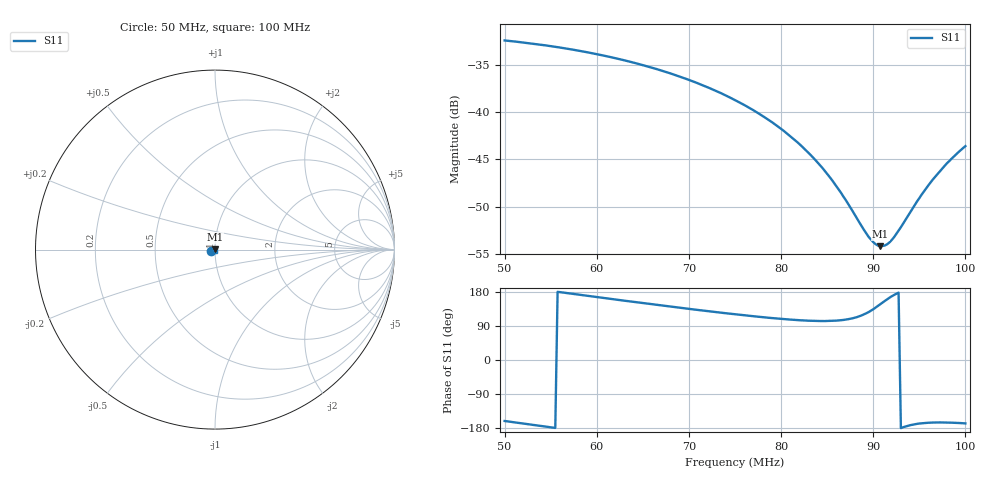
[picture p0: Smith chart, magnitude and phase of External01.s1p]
!Agilent Technologies,E5072A,MY51200456,A.01.06
!Date: Thu Sep 03 20:51:11 2015
!Data & Calibration Information:
!Freq	S11:SOLT1(ON)
!PortZ  Port1:50+j0
!Above PortZ is port z conversion or system Z0 setting when saving the data.
!When reading, reference impedance value at option line is always used.
# Hz S dB R 50
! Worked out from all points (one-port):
!   201 points, 50 MHz to 100 MHz, reference 50 ohm
!   lowest |S11| = -54.1 dB at 90.75 MHz (marker M1), VSWR 1.00, Z = 49.8 + j0.108 ohm
!   |S11| at or under -10 dB: start of sweep to end of sweep
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5e7  -32.45 -160.9
5.625e7  -33.23 178.3
5.975e7  -33.85 166.9
6.25e7  -34.43 158.1
6.55e7  -35.18 148.7
6.875e7  -36.17 138.7
7.2e7  -37.38 129.1
7.5e7  -38.74 120.7
7.825e7  -40.57 112.4
8.025e7  -41.95 108.1
8.125e7  -42.75 106.2
8.275e7  -44.07 103.9
8.45e7  -45.91 102.8
8.625e7  -48.15 104.5
8.75e7  -50.00 108.8
8.85e7  -51.64 115.4
8.95e7  -53.16 126.5
9.025e7  -53.92 138.1
9.075e7  -54.14 146.7
9.125e7  -54.07 155.7
9.15e7  -53.94 160.1
9.2e7  -53.49 168.1
9.275e7  -52.52 177.7
9.375e7  -50.96 -173.5
9.525e7  -48.71 -167.0
9.65e7  -47.07 -165.0
9.8e7  -45.39 -165.0
1e8  -43.59 -167.3
